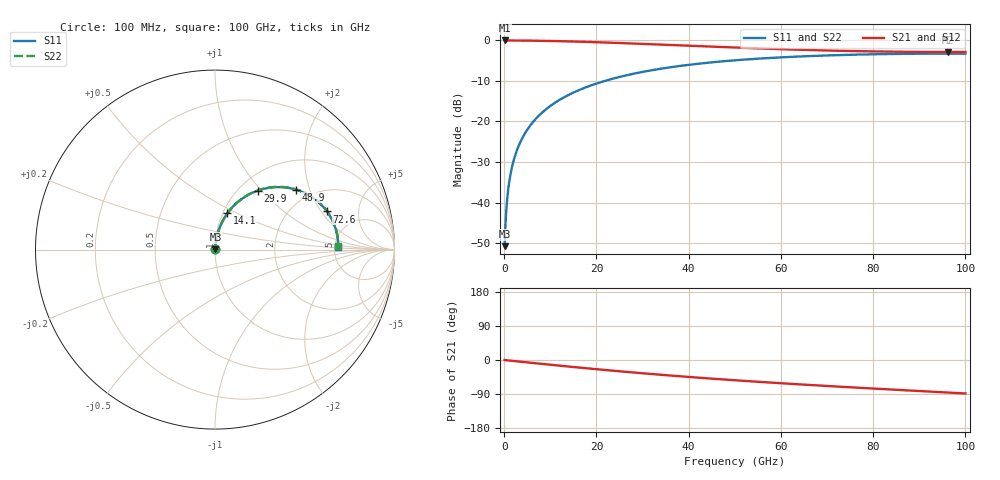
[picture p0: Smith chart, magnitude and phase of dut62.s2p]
! Touchstone file exported from HFSS 2026.1.0
!  File:  C:/ffzhzh/LocalFiles/Ansys_Project_Files/temp_train_RDL_62_1783498478_44152.aedt
!  Generated:  04:15:43 PM Jul  8, 2026
!  Design:  RDL
!  Project:  temp_train_RDL_62_1783498478_44152
! Variables:
!  h_bsmrdl = 2um
!  h_ox = 20um
!  h_rdl = 5um
!  h_sub = 80um
!  h_tmrdl = 2.53um
!  h_tsv = 80um
!  h_via = 3um
!  l_bsmrdl = 300um
!  l_sub = 665.54um
!  l_tmrdl = 265.54um
!  m_sub = 200um
!  pitch = 57.4um
!  r_tsv = 6um
!  s_tmrdl = 10um
!  w_bsmrdl = 18um
!  w_sub = 500um
!  w_tmrdl = 17.55um
!  x_tsv_center1 = 274.315um
!  x_tsv_center2 = 592.315um
!  x_tsv_center3 = 875.405um
!  x_tsv_center4 = 1193.405um
!  x_tsv_center5 = 1476.495um
!  x_tsv_center6 = 1794.495um
# GHz S MA R 50.000000
! Terminal data exported
! Port[1] = TM_RDL1_1_T1
! Port[2] = TM_RDL1_1_T2
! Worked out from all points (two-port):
!   1000 points, 100 MHz to 100 GHz, reference 50 ohm
!   highest |S21| = -0.02 dB at 100 MHz (marker M1); lowest = -2.9 dB at 96.3 GHz (marker M2)
!   |S21| within 3 dB of the highest: start of sweep to end of sweep
!   lowest |S11| = -50.7 dB at 100 MHz (marker M3), VSWR 1.01, Z = 50.2 + j0.168 ohm
!   |S11| at or under -10 dB: start of sweep to 21.83 GHz
!   |S22| runs from -50.7 to -3.3 dB; largest |S21 - S12| = 7.1e-15
!   S11 on the Smith chart (normalised r, x): 100 MHz: 1.00, +0.00; 14.1 GHz: 1.05, +0.45; 29.9 GHz: 1.22, +0.96; 48.9 GHz: 1.66, +1.62; 72.6 GHz: 3.03, +2.28; 100 GHz: 5.36, +0.24
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0.1  0.002901 35.2  0.9976 -0.1  0.9976 -0.1  0.002901 35.2
! Gamma 0 0 0 0
! Port Impedance 50 0 50 0
0.3  0.005564 63.4  0.9975 -0.4  0.9975 -0.4  0.005563 63.4
0.9  0.01483 78.1  0.9971 -1.2  0.9971 -1.2  0.01483 78.1
1.4  0.02263 80.9  0.9969 -1.8  0.9969 -1.8  0.02263 80.9
1.8  0.02889 81.9  0.9966 -2.3  0.9966 -2.3  0.02889 81.9
2.3  0.03674 82.4  0.9963 -2.9  0.9963 -2.9  0.03674 82.4
3.6  0.05714 82.2  0.9952 -4.6  0.9952 -4.6  0.05714 82.2
5.4  0.0852 80.8  0.9929 -6.8  0.9929 -6.8  0.0852 80.8
7.7  0.1205 78.4  0.9888 -9.7  0.9888 -9.7  0.1205 78.5
10.6  0.164 75.1  0.9818 -13.2  0.9818 -13.2  0.164 75.2
14.1  0.2143 71.1  0.9713 -17.4  0.9713 -17.4  0.2143 71.2
16.8  0.2514 68.0  0.9619 -20.6  0.9619 -20.6  0.2514 68.1
22.8  0.328 61.3  0.9378 -27.4  0.9378 -27.4  0.328 61.5
29.9  0.4073 53.9  0.9057 -34.9  0.9057 -34.9  0.4073 54.1
33.4  0.4419 50.4  0.8893 -38.4  0.8893 -38.4  0.4419 50.7
48.9  0.5611 36.5  0.8196 -52.5  0.8196 -52.5  0.5611 36.8
50.1  0.5682 35.5  0.8148 -53.5  0.8148 -53.5  0.5682 35.9
66.7  0.6421 22.9  0.7587 -66.2  0.7587 -66.2  0.6421 23.4
72.6  0.6589 18.8  0.7445 -70.3  0.7445 -70.3  0.6588 19.3
83.4  0.6789 11.6  0.7265 -77.6  0.7265 -77.6  0.6789 12.2
96.3  0.6868 3.4  0.719 -85.9  0.719 -85.9  0.6868 4.0
100  0.6861 1.0  0.7196 -88.3  0.7196 -88.3  0.686 1.7
